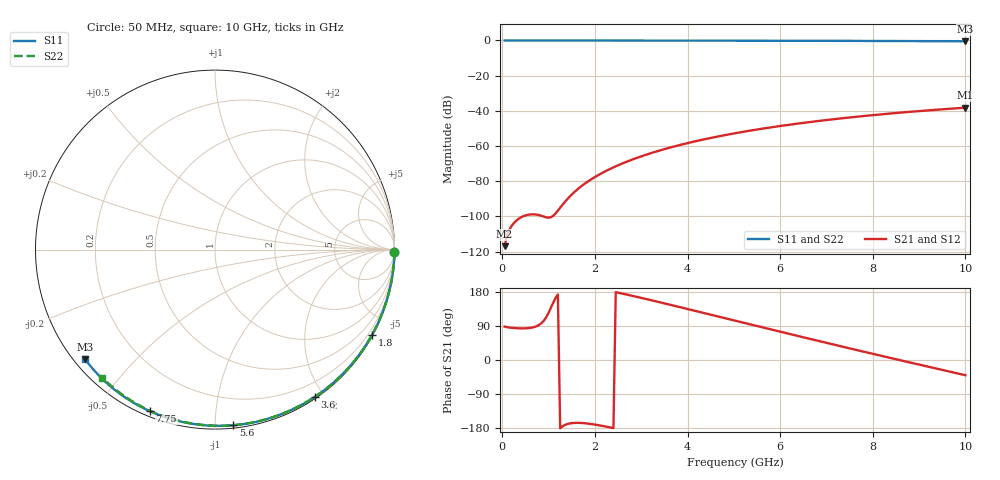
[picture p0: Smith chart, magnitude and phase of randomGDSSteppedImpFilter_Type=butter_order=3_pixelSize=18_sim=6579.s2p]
! freq	dB(S11)	phase(S11)	dB(S12)	phase(S12)
!  dB(S21)	phase(S21)	dB(S22)	phase(S22)
!S-par simulation data
#  GHz  S  DB  R 50
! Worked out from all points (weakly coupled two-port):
!   200 points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, 50 MHz to 10 GHz, reference 50 ohm
!   highest |S21| = -38.19 dB at 10 GHz (marker M1); lowest = -116.9 dB at 50 MHz (marker M2)
!   lowest |S11| = -0.5 dB at 10 GHz (marker M3), VSWR 36.76, Z = 1.54 - j18.3 ohm
!   |S11| at or under -10 dB: nowhere
!   |S22| runs from -0.4 to 0.0 dB; largest |S21 - S12| = 0
!   S11 on the Smith chart (normalised r, x): 50 MHz: open; 1.8 GHz: 0.03, -3.92; 3.6 GHz: 0.02, -1.89; 5.6 GHz: 0.02, -1.11; 7.75 GHz: 0.02, -0.67; 10 GHz: 0.03, -0.37
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0.05  -0.00 -0.8  -116.87 88.2  -116.87 88.2  -0.00 -0.8
0.45  -0.01 -7.3  -99.91 83.4  -99.91 83.4  -0.01 -6.8
0.9  -0.02 -14.4  -100.12 104.3  -100.12 104.3  -0.02 -13.6
1.75  -0.04 -27.8  -81.96 -166.6  -81.96 -166.6  -0.03 -26.2
1.8  -0.04 -28.6  -81.00 -167.2  -81.00 -167.2  -0.03 -26.9
1.85  -0.04 -29.4  -80.10 -167.9  -80.10 -167.9  -0.04 -27.6
2.15  -0.04 -34.0  -75.36 -173.6  -75.36 -173.6  -0.04 -32.0
2.35  -0.05 -37.1  -72.71 -178.4  -72.71 -178.4  -0.04 -34.9
2.55  -0.05 -40.2  -70.35 176.4  -70.35 176.4  -0.05 -37.8
2.95  -0.06 -46.2  -66.30 165.4  -66.30 165.4  -0.06 -43.5
3.4  -0.07 -52.9  -62.50 152.4  -62.50 152.4  -0.07 -49.8
3.6  -0.08 -55.9  -61.01 146.5  -61.01 146.5  -0.07 -52.6
4.3  -0.09 -66.0  -56.51 125.6  -56.51 125.6  -0.09 -62.2
5.05  -0.12 -76.5  -52.60 103.1  -52.60 103.1  -0.11 -72.1
5.6  -0.14 -84.0  -50.18 86.7  -50.18 86.7  -0.13 -79.2
6.15  -0.16 -91.4  -48.05 70.3  -48.05 70.3  -0.15 -86.2
6.7  -0.19 -98.6  -46.16 54.1  -46.16 54.1  -0.18 -92.9
7.2  -0.22 -105.0  -44.61 39.4  -44.61 39.4  -0.21 -99.0
7.75  -0.26 -112.0  -43.08 23.5  -43.08 23.5  -0.24 -105.5
8.35  -0.31 -119.4  -41.57 6.3  -41.57 6.3  -0.29 -112.5
9.2  -0.38 -129.9  -39.71 -17.8  -39.71 -17.8  -0.36 -122.3
10  -0.47 -139.8  -38.19 -40.2  -38.19 -40.2  -0.44 -131.3
